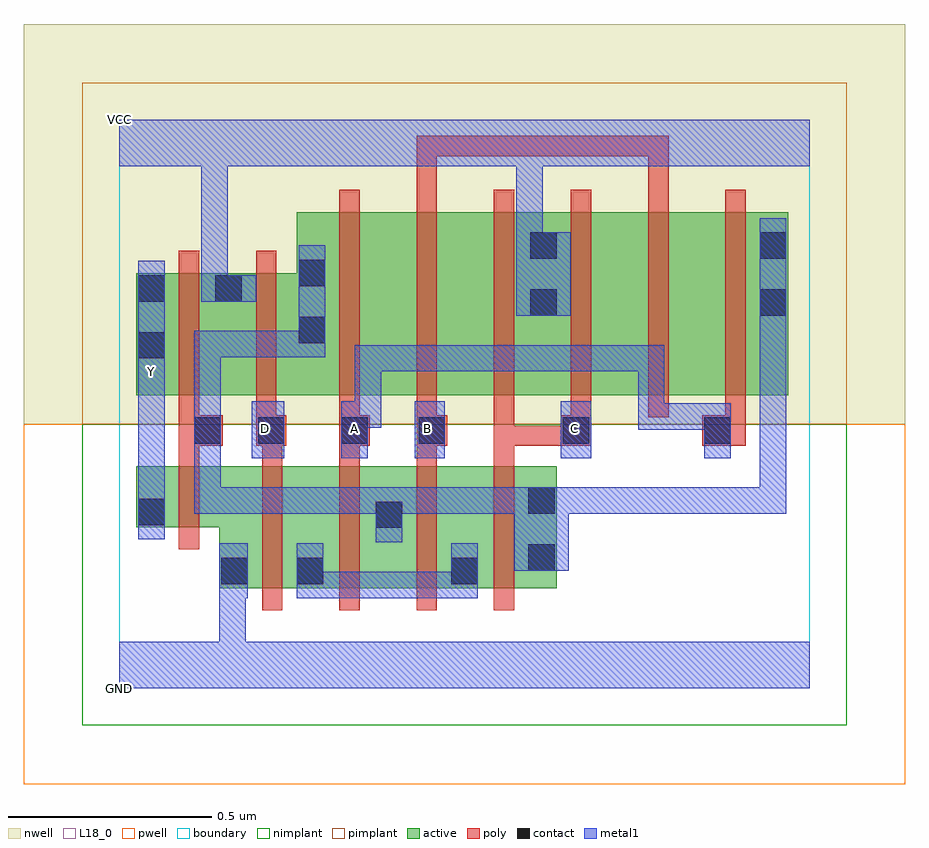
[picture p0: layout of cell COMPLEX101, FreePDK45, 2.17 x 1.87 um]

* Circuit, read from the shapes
.subckt COMPLEX101 A B C D GND VCC Y
M1 GND n1 Y VSUBS nfet w=0.15u l=0.05u
M2 n2 D GND VSUBS nfet w=0.3u l=0.05u
M3 n1 A n2 VSUBS nfet w=0.3u l=0.05u
M4 n2 B n1 VSUBS nfet w=0.3u l=0.05u
M5 n1 C n2 VSUBS nfet w=0.3u l=0.05u
M6 VCC n1 Y n3 pfet w=0.3u l=0.05u
M7 n1 D VCC n3 pfet w=0.3u l=0.05u
M8 n4 A n1 n3 pfet w=0.45u l=0.05u
M9 n5 B n4 n3 pfet w=0.45u l=0.05u
M10 VCC C n5 n3 pfet w=0.45u l=0.05u
M11 n6 C VCC n3 pfet w=0.45u l=0.05u
M12 n7 B n6 n3 pfet w=0.45u l=0.05u
M13 n1 A n7 n3 pfet w=0.45u l=0.05u
.ends

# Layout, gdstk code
import gdstk
lib = gdstk.Library(unit=1e-6, precision=1e-09)
def R(c, l, rs):  # rectangles x0, y0, x1, y1
    for r in rs: c.add(gdstk.rectangle(r[:2], r[2:], *l))
def A(c, l, x, y, w, h, nx, ny, dx, dy):  # array of equal rectangles
    R(c, l, [(x+i*dx, y+j*dy, x+i*dx+w, y+j*dy+h) for i in range(nx) for j in range(ny)])
active = (1, 0)
pwell = (2, 0)
nwell = (3, 0)
nimplant = (4, 0)
pimplant = (5, 0)
poly = (9, 0)
contact = (10, 0)
metal1 = (11, 0)
L18_0 = (18, 0)
boundary = (235, 0)

complex101 = lib.new_cell('COMPLEX101')
R(complex101, active, [(0.247,0.247,0.507,0.547), (0.432,0.247,0.702,0.547), (0.627,0.247,0.887,0.547), (0.812,0.247,1.077,0.547), (0.247,0.252,0.322,0.397), (0.432,0.252,0.507,0.392), (0.812,0.252,0.887,0.392), (1.002,0.282,1.077,0.547), (0.627,0.295,0.702,0.465), (0.042,0.397,0.322,0.547), (0.042,0.397,0.117,0.547), (0.042,0.722,0.307,1.022), (0.042,0.722,0.117,1.022), (0.232,0.722,0.512,1.022), (0.232,0.722,0.307,1.022), (0.437,0.722,0.662,1.172), (0.662,0.722,0.852,1.172), (0.852,0.722,1.082,1.172), (1.007,0.722,1.232,1.172), (1.232,0.722,1.422,1.172), (1.422,0.722,1.647,1.172), (1.572,0.722,1.647,1.155), (1.007,0.732,1.082,1.155), (0.437,0.845,0.512,1.06)])
R(complex101, pwell, [(-0.235,-0.235,1.935,0.65)])
R(complex101, nwell, [(-0.235,0.65,1.935,1.635)])
R(complex101, nimplant, [(-0.09,-0.09,1.79,0.65)])
R(complex101, pimplant, [(-0.09,0.65,1.79,1.49)])
A(complex101, poly, 0.352, 0.192, 0.05, 0.41, 4, 1, 0.19, 0)
A(complex101, poly, 0.352, 0.552, 0.05, 0.095, 4, 1, 0.19, 0)
A(complex101, poly, 0.732, 0.622, 0.05, 0.095, 3, 1, 0.38, 0)
A(complex101, poly, 0.542, 0.667, 0.05, 0.56, 6, 1, 0.19, 0)
R(complex101, poly, [(0.147,0.342,0.197,0.602), (0.147,0.552,0.197,0.647), (0.147,0.597,0.255,0.672), (0.337,0.597,0.412,0.672), (0.542,0.597,0.617,0.672), (0.732,0.597,0.807,0.672), (0.922,0.597,0.972,0.647), (0.922,0.597,1.137,0.647), (0.922,0.597,0.972,0.717), (1.087,0.597,1.137,0.647), (1.087,0.597,1.137,0.647), (1.087,0.597,1.162,0.672), (1.435,0.597,1.542,0.672), (0.147,0.622,0.197,0.717), (0.337,0.622,0.387,0.717), (0.542,0.622,0.592,0.717), (0.147,0.667,0.197,1.077), (0.337,0.667,0.387,1.077), (0.732,1.177,0.782,1.36), (1.302,1.177,1.352,1.36), (0.732,1.31,0.782,1.36), (0.732,1.31,0.782,1.36), (0.732,1.31,0.782,1.36), (0.732,1.31,1.005,1.36), (0.955,1.31,1.005,1.36), (0.955,1.31,1.005,1.36), (0.955,1.31,1.005,1.36), (0.955,1.31,1.22,1.36), (1.17,1.31,1.22,1.36), (1.17,1.31,1.352,1.36), (1.302,1.31,1.352,1.36), (1.302,1.31,1.352,1.36), (1.302,1.31,1.352,1.36)])
R(complex101, contact, [(0.252,0.257,0.317,0.322), (0.437,0.257,0.502,0.322), (0.817,0.257,0.882,0.322), (1.007,0.29,1.072,0.355), (0.632,0.395,0.697,0.46), (0.047,0.402,0.112,0.467), (1.007,0.43,1.072,0.495), (0.185,0.602,0.25,0.667), (0.342,0.602,0.407,0.667), (0.547,0.602,0.612,0.667), (0.737,0.602,0.802,0.667), (1.092,0.602,1.157,0.667), (1.44,0.602,1.505,0.667), (0.047,0.812,0.112,0.877), (0.442,0.85,0.507,0.915), (1.012,0.917,1.077,0.982), (1.577,0.917,1.642,0.982), (0.047,0.952,0.112,1.017), (0.237,0.952,0.302,1.017), (0.442,0.99,0.507,1.055), (1.012,1.057,1.077,1.122), (1.577,1.057,1.642,1.122)])
R(complex101, metal1, [(0,0,1.7,0.115), (0.247,0.05,0.312,0.115), (0.247,0.05,0.312,0.115), (0.247,0.05,0.312,0.115), (0.247,0.05,0.312,0.115), (0.247,0.05,0.312,0.287), (0.247,0.222,0.317,0.357), (0.437,0.222,0.502,0.357), (0.437,0.222,0.645,0.287), (0.58,0.222,0.645,0.287), (0.58,0.222,0.645,0.287), (0.58,0.222,0.645,0.287), (0.58,0.222,0.862,0.287), (0.797,0.222,0.862,0.287), (0.797,0.222,0.882,0.287), (0.817,0.222,0.882,0.357), (0.972,0.29,1.107,0.495), (0.632,0.36,0.697,0.495), (0.047,0.367,0.112,0.502), (0.185,0.43,0.25,0.495), (0.185,0.43,0.445,0.495), (0.185,0.43,0.25,0.632), (0.38,0.43,0.445,0.495), (0.38,0.43,0.445,0.495), (0.38,0.43,0.445,0.495), (0.38,0.43,0.582,0.495), (0.517,0.43,0.582,0.495), (0.517,0.43,0.697,0.495), (0.632,0.43,0.862,0.495), (0.797,0.43,0.862,0.495), (0.797,0.43,0.9,0.495), (0.835,0.43,0.9,0.495), (0.835,0.43,1,0.495), (0.935,0.43,1,0.495), (0.935,0.43,1.037,0.495), (1.042,0.43,1.137,0.495), (1.072,0.43,1.137,0.495), (1.072,0.43,1.342,0.495), (1.277,0.43,1.342,0.495), (1.277,0.43,1.342,0.495), (1.277,0.43,1.342,0.495), (1.277,0.43,1.48,0.495), (1.415,0.43,1.48,0.495), (1.415,0.43,1.642,0.495), (1.577,0.43,1.642,0.845), (1.577,0.43,1.642,0.495), (1.577,0.43,1.642,0.495), (1.577,0.43,1.642,0.495), (0.047,0.437,0.112,0.777), (0.185,0.567,0.25,0.632), (0.185,0.567,0.25,0.632), (0.185,0.567,0.25,0.702), (0.185,0.567,0.25,0.88), (0.327,0.567,0.407,0.707), (0.547,0.567,0.612,0.707), (0.727,0.567,0.802,0.707), (1.087,0.567,1.162,0.707), (1.44,0.567,1.505,0.702), (1.277,0.637,1.342,0.702), (1.277,0.637,1.342,0.702), (1.277,0.637,1.342,0.702), (1.277,0.637,1.48,0.702), (1.277,0.637,1.342,0.845), (1.415,0.637,1.48,0.702), (1.415,0.637,1.505,0.702), (0.547,0.642,0.645,0.707), (0.58,0.642,0.645,0.707), (0.58,0.642,0.645,0.845), (0.047,0.712,0.112,0.847), (0.047,0.777,0.112,1.052), (0.047,0.777,0.112,0.842), (0.58,0.78,0.645,0.845), (0.58,0.78,0.862,0.845), (0.797,0.78,0.862,0.845), (0.797,0.78,0.862,0.845), (0.797,0.78,0.862,0.845), (0.797,0.78,1,0.845), (0.935,0.78,1,0.845), (0.935,0.78,1.137,0.845), (1.072,0.78,1.137,0.845), (1.072,0.78,1.137,0.845), (1.072,0.78,1.137,0.845), (1.072,0.78,1.342,0.845), (1.277,0.78,1.342,0.845), (1.577,0.78,1.642,0.947), (1.577,0.78,1.642,0.845), (0.185,0.815,0.25,0.88), (0.185,0.815,0.445,0.88), (0.38,0.815,0.445,0.88), (0.38,0.815,0.507,0.88), (0.442,0.815,0.507,1.09), (1.577,0.882,1.642,1.157), (0.977,0.917,1.112,1.122), (0.202,0.952,0.267,1.017), (0.202,0.952,0.267,1.017), (0.202,0.952,0.267,1.35), (0.202,0.952,0.337,1.017), (0.977,1.057,1.042,1.35), (0,1.285,1.7,1.4), (0.202,1.285,0.267,1.35), (0.202,1.285,0.267,1.35), (0.977,1.285,1.042,1.35), (0.977,1.285,1.042,1.35)])
R(complex101, L18_0, [(0,0,1.7,0.115), (0.247,0.05,0.312,0.115), (0.247,0.05,0.312,0.115), (0.247,0.05,0.312,0.115), (0.247,0.05,0.312,0.115), (0.247,0.05,0.312,0.287), (0.247,0.222,0.317,0.357), (0.047,0.367,0.112,0.502), (0.047,0.437,0.112,0.777), (0.327,0.567,0.407,0.707), (0.547,0.567,0.612,0.707), (0.727,0.567,0.802,0.707), (1.087,0.567,1.162,0.707), (1.44,0.567,1.505,0.702), (0.327,0.607,0.392,0.672), (0.547,0.607,0.612,0.672), (0.727,0.607,0.792,0.672), (1.087,0.607,1.152,0.672), (1.277,0.637,1.342,0.702), (1.277,0.637,1.342,0.702), (1.277,0.637,1.342,0.702), (1.277,0.637,1.48,0.702), (1.277,0.637,1.342,0.845), (1.415,0.637,1.48,0.702), (1.415,0.637,1.505,0.702), (0.547,0.642,0.645,0.707), (0.58,0.642,0.645,0.707), (0.58,0.642,0.645,0.845), (0.047,0.712,0.112,0.847), (0.047,0.747,0.112,0.812), (0.047,0.777,0.112,1.052), (0.047,0.777,0.112,0.842), (0.58,0.78,0.645,0.845), (0.58,0.78,0.862,0.845), (0.797,0.78,0.862,0.845), (0.797,0.78,0.862,0.845), (0.797,0.78,0.862,0.845), (0.797,0.78,1,0.845), (0.935,0.78,1,0.845), (0.935,0.78,1.137,0.845), (1.072,0.78,1.137,0.845), (1.072,0.78,1.137,0.845), (1.072,0.78,1.137,0.845), (1.072,0.78,1.342,0.845), (1.277,0.78,1.342,0.845), (0.977,0.917,1.112,1.122), (0.202,0.952,0.267,1.017), (0.202,0.952,0.267,1.017), (0.202,0.952,0.337,1.017), (0.202,0.952,0.267,1.35), (0.977,1.057,1.042,1.35), (0,1.285,1.7,1.4), (0.202,1.285,0.267,1.35), (0.202,1.285,0.267,1.35), (0.977,1.285,1.042,1.35), (0.977,1.285,1.042,1.35)])
R(complex101, boundary, [(0,0,1.7,1.4)])
complex101.add(gdstk.Label('A', (0.58,0.64), layer=11, texttype=0))
complex101.add(gdstk.Label('B', (0.76,0.64), layer=11, texttype=0))
complex101.add(gdstk.Label('C', (1.12,0.64), layer=11, texttype=0))
complex101.add(gdstk.Label('D', (0.36,0.64), layer=11, texttype=0))
complex101.add(gdstk.Label('Y', (0.08,0.78), layer=11, texttype=0))
complex101.add(gdstk.Label('VCC', (0,1.4), layer=11, texttype=0))
complex101.add(gdstk.Label('GND', (0,0), layer=11, texttype=0))

lib.write_gds('COMPLEX101.gds')
